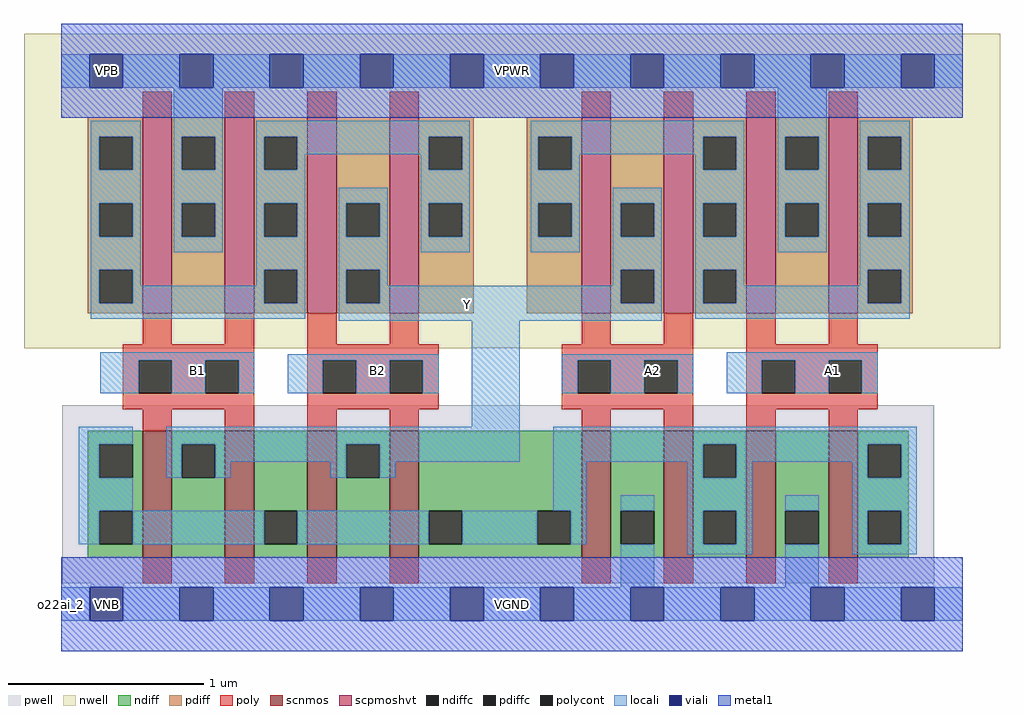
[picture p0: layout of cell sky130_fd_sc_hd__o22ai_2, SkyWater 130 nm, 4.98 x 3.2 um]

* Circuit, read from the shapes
.subckt sky130_fd_sc_hd__o22ai_2 A1 A2 B1 B2 VGND VNB VPB VPWR Y
XM1 Y B1 n1 VNB sky130_fd_pr__nfet_01v8 w=0.65 l=0.15 m=2
XM2 Y B2 n1 VNB sky130_fd_pr__nfet_01v8 w=0.65 l=0.15 m=2
XM3 VGND A2 n1 VNB sky130_fd_pr__nfet_01v8 w=0.65 l=0.15 m=2
XM4 VGND A1 n1 VNB sky130_fd_pr__nfet_01v8 w=0.65 l=0.15 m=2
XM5 VPWR B1 n2 VPB sky130_fd_pr__pfet_01v8_hvt w=1 l=0.15 m=2
XM6 Y B2 n2 VPB sky130_fd_pr__pfet_01v8_hvt w=1 l=0.15 m=2
XM7 Y A2 n3 VPB sky130_fd_pr__pfet_01v8_hvt w=1 l=0.15 m=2
XM8 VPWR A1 n3 VPB sky130_fd_pr__pfet_01v8_hvt w=1 l=0.15 m=2
.ends

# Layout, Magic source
magic
tech sky130B
magscale 1 2
<< nwell >>
rect -38 261 958 582
<< pwell >>
rect 1 21 891 203
rect 30 -17 64 21
<< scnmos >>
rect 83 47 113 177
rect 167 47 197 177
rect 251 47 281 177
rect 335 47 365 177
rect 531 47 561 177
rect 615 47 645 177
rect 699 47 729 177
rect 783 47 813 177
<< scpmoshvt >>
rect 83 297 113 497
rect 167 297 197 497
rect 251 297 281 497
rect 335 297 365 497
rect 531 297 561 497
rect 615 297 645 497
rect 699 297 729 497
rect 783 297 813 497
<< ndiff >>
rect 27 163 83 177
rect 27 129 39 163
rect 73 129 83 163
rect 27 95 83 129
rect 27 61 39 95
rect 73 61 83 95
rect 27 47 83 61
rect 113 163 167 177
rect 113 129 123 163
rect 157 129 167 163
rect 113 47 167 129
rect 197 95 251 177
rect 197 61 207 95
rect 241 61 251 95
rect 197 47 251 61
rect 281 163 335 177
rect 281 129 291 163
rect 325 129 335 163
rect 281 47 335 129
rect 365 95 531 177
rect 365 61 375 95
rect 409 61 486 95
rect 520 61 531 95
rect 365 47 531 61
rect 561 95 615 177
rect 561 61 571 95
rect 605 61 615 95
rect 561 47 615 61
rect 645 163 699 177
rect 645 129 655 163
rect 689 129 699 163
rect 645 95 699 129
rect 645 61 655 95
rect 689 61 699 95
rect 645 47 699 61
rect 729 95 783 177
rect 729 61 739 95
rect 773 61 783 95
rect 729 47 783 61
rect 813 163 865 177
rect 813 129 823 163
rect 857 129 865 163
rect 813 95 865 129
rect 813 61 823 95
rect 857 61 865 95
rect 813 47 865 61
<< pdiff >>
rect 27 477 83 497
rect 27 443 39 477
rect 73 443 83 477
rect 27 409 83 443
rect 27 375 39 409
rect 73 375 83 409
rect 27 341 83 375
rect 27 307 39 341
rect 73 307 83 341
rect 27 297 83 307
rect 113 477 167 497
rect 113 443 123 477
rect 157 443 167 477
rect 113 409 167 443
rect 113 375 123 409
rect 157 375 167 409
rect 113 297 167 375
rect 197 477 251 497
rect 197 443 207 477
rect 241 443 251 477
rect 197 409 251 443
rect 197 375 207 409
rect 241 375 251 409
rect 197 341 251 375
rect 197 307 207 341
rect 241 307 251 341
rect 197 297 251 307
rect 281 409 335 497
rect 281 375 291 409
rect 325 375 335 409
rect 281 341 335 375
rect 281 307 291 341
rect 325 307 335 341
rect 281 297 335 307
rect 365 477 421 497
rect 365 443 375 477
rect 409 443 421 477
rect 365 409 421 443
rect 365 375 375 409
rect 409 375 421 409
rect 365 297 421 375
rect 475 477 531 497
rect 475 443 487 477
rect 521 443 531 477
rect 475 409 531 443
rect 475 375 487 409
rect 521 375 531 409
rect 475 297 531 375
rect 561 409 615 497
rect 561 375 571 409
rect 605 375 615 409
rect 561 341 615 375
rect 561 307 571 341
rect 605 307 615 341
rect 561 297 615 307
rect 645 477 699 497
rect 645 443 655 477
rect 689 443 699 477
rect 645 409 699 443
rect 645 375 655 409
rect 689 375 699 409
rect 645 341 699 375
rect 645 307 655 341
rect 689 307 699 341
rect 645 297 699 307
rect 729 477 783 497
rect 729 443 739 477
rect 773 443 783 477
rect 729 409 783 443
rect 729 375 739 409
rect 773 375 783 409
rect 729 297 783 375
rect 813 477 869 497
rect 813 443 823 477
rect 857 443 869 477
rect 813 409 869 443
rect 813 375 823 409
rect 857 375 869 409
rect 813 341 869 375
rect 813 307 823 341
rect 857 307 869 341
rect 813 297 869 307
<< ndiffc >>
rect 39 129 73 163
rect 39 61 73 95
rect 123 129 157 163
rect 207 61 241 95
rect 291 129 325 163
rect 375 61 409 95
rect 486 61 520 95
rect 571 61 605 95
rect 655 129 689 163
rect 655 61 689 95
rect 739 61 773 95
rect 823 129 857 163
rect 823 61 857 95
<< pdiffc >>
rect 39 443 73 477
rect 39 375 73 409
rect 39 307 73 341
rect 123 443 157 477
rect 123 375 157 409
rect 207 443 241 477
rect 207 375 241 409
rect 207 307 241 341
rect 291 375 325 409
rect 291 307 325 341
rect 375 443 409 477
rect 375 375 409 409
rect 487 443 521 477
rect 487 375 521 409
rect 571 375 605 409
rect 571 307 605 341
rect 655 443 689 477
rect 655 375 689 409
rect 655 307 689 341
rect 739 443 773 477
rect 739 375 773 409
rect 823 443 857 477
rect 823 375 857 409
rect 823 307 857 341
<< poly >>
rect 83 497 113 523
rect 167 497 197 523
rect 251 497 281 523
rect 335 497 365 523
rect 531 497 561 523
rect 615 497 645 523
rect 699 497 729 523
rect 783 497 813 523
rect 83 265 113 297
rect 167 265 197 297
rect 63 249 197 265
rect 63 215 79 249
rect 113 215 147 249
rect 181 215 197 249
rect 63 199 197 215
rect 83 177 113 199
rect 167 177 197 199
rect 251 265 281 297
rect 335 265 365 297
rect 531 265 561 297
rect 615 265 645 297
rect 251 249 385 265
rect 251 215 267 249
rect 301 215 335 249
rect 369 215 385 249
rect 251 199 385 215
rect 511 249 645 265
rect 511 215 527 249
rect 561 215 595 249
rect 629 215 645 249
rect 511 199 645 215
rect 251 177 281 199
rect 335 177 365 199
rect 531 177 561 199
rect 615 177 645 199
rect 699 265 729 297
rect 783 265 813 297
rect 699 249 833 265
rect 699 215 715 249
rect 749 215 783 249
rect 817 215 833 249
rect 699 199 833 215
rect 699 177 729 199
rect 783 177 813 199
rect 83 21 113 47
rect 167 21 197 47
rect 251 21 281 47
rect 335 21 365 47
rect 531 21 561 47
rect 615 21 645 47
rect 699 21 729 47
rect 783 21 813 47
<< polycont >>
rect 79 215 113 249
rect 147 215 181 249
rect 267 215 301 249
rect 335 215 369 249
rect 527 215 561 249
rect 595 215 629 249
rect 715 215 749 249
rect 783 215 817 249
<< locali >>
rect 0 527 29 561
rect 63 527 121 561
rect 155 527 213 561
rect 247 527 305 561
rect 339 527 397 561
rect 431 527 489 561
rect 523 527 581 561
rect 615 527 673 561
rect 707 527 765 561
rect 799 527 857 561
rect 891 527 920 561
rect 30 477 81 493
rect 30 443 39 477
rect 73 443 81 477
rect 30 409 81 443
rect 30 375 39 409
rect 73 375 81 409
rect 30 341 81 375
rect 115 477 165 527
rect 115 443 123 477
rect 157 443 165 477
rect 115 409 165 443
rect 115 375 123 409
rect 157 375 165 409
rect 115 359 165 375
rect 199 477 417 493
rect 199 443 207 477
rect 241 459 375 477
rect 241 443 249 459
rect 199 409 249 443
rect 367 443 375 459
rect 409 443 417 477
rect 199 375 207 409
rect 241 375 249 409
rect 30 307 39 341
rect 73 325 81 341
rect 199 341 249 375
rect 199 325 207 341
rect 73 307 207 325
rect 241 307 249 341
rect 30 291 249 307
rect 283 409 333 425
rect 283 375 291 409
rect 325 375 333 409
rect 283 341 333 375
rect 367 409 417 443
rect 367 375 375 409
rect 409 375 417 409
rect 367 359 417 375
rect 479 477 697 493
rect 479 443 487 477
rect 521 459 655 477
rect 521 443 529 459
rect 479 409 529 443
rect 647 443 655 459
rect 689 443 697 477
rect 479 375 487 409
rect 521 375 529 409
rect 479 359 529 375
rect 563 409 613 425
rect 563 375 571 409
rect 605 375 613 409
rect 283 307 291 341
rect 325 325 333 341
rect 563 341 613 375
rect 563 325 571 341
rect 325 307 571 325
rect 605 307 613 341
rect 283 289 613 307
rect 647 409 697 443
rect 647 375 655 409
rect 689 375 697 409
rect 647 341 697 375
rect 731 477 781 527
rect 731 443 739 477
rect 773 443 781 477
rect 731 409 781 443
rect 731 375 739 409
rect 773 375 781 409
rect 731 359 781 375
rect 815 477 866 493
rect 815 443 823 477
rect 857 443 866 477
rect 815 409 866 443
rect 815 375 823 409
rect 857 375 866 409
rect 647 307 655 341
rect 689 325 697 341
rect 815 341 866 375
rect 815 325 823 341
rect 689 307 823 325
rect 857 307 866 341
rect 647 291 866 307
rect 40 249 197 257
rect 40 215 79 249
rect 113 215 147 249
rect 181 215 197 249
rect 231 249 385 255
rect 231 215 267 249
rect 301 215 335 249
rect 369 215 385 249
rect 419 181 468 289
rect 511 249 645 255
rect 511 215 527 249
rect 561 215 595 249
rect 629 215 645 249
rect 679 249 833 257
rect 679 215 715 249
rect 749 215 783 249
rect 817 215 833 249
rect 18 163 73 181
rect 18 129 39 163
rect 107 163 468 181
rect 107 129 123 163
rect 157 145 291 163
rect 157 129 173 145
rect 275 129 291 145
rect 325 145 468 163
rect 502 163 873 181
rect 502 145 655 163
rect 325 129 341 145
rect 18 95 73 129
rect 502 95 536 145
rect 639 129 655 145
rect 689 145 823 163
rect 689 129 705 145
rect 18 61 39 95
rect 73 61 207 95
rect 241 61 375 95
rect 409 61 486 95
rect 520 61 536 95
rect 571 95 605 111
rect 571 17 605 61
rect 639 95 705 129
rect 807 129 823 145
rect 857 129 873 163
rect 639 61 655 95
rect 689 61 705 95
rect 639 51 705 61
rect 739 95 773 111
rect 739 17 773 61
rect 807 95 873 129
rect 807 61 823 95
rect 857 61 873 95
rect 807 51 873 61
rect 0 -17 29 17
rect 63 -17 121 17
rect 155 -17 213 17
rect 247 -17 305 17
rect 339 -17 397 17
rect 431 -17 489 17
rect 523 -17 581 17
rect 615 -17 673 17
rect 707 -17 765 17
rect 799 -17 857 17
rect 891 -17 920 17
<< viali >>
rect 29 527 63 561
rect 121 527 155 561
rect 213 527 247 561
rect 305 527 339 561
rect 397 527 431 561
rect 489 527 523 561
rect 581 527 615 561
rect 673 527 707 561
rect 765 527 799 561
rect 857 527 891 561
rect 29 -17 63 17
rect 121 -17 155 17
rect 213 -17 247 17
rect 305 -17 339 17
rect 397 -17 431 17
rect 489 -17 523 17
rect 581 -17 615 17
rect 673 -17 707 17
rect 765 -17 799 17
rect 857 -17 891 17
<< metal1 >>
rect 0 561 920 592
rect 0 527 29 561
rect 63 527 121 561
rect 155 527 213 561
rect 247 527 305 561
rect 339 527 397 561
rect 431 527 489 561
rect 523 527 581 561
rect 615 527 673 561
rect 707 527 765 561
rect 799 527 857 561
rect 891 527 920 561
rect 0 496 920 527
rect 0 17 920 48
rect 0 -17 29 17
rect 63 -17 121 17
rect 155 -17 213 17
rect 247 -17 305 17
rect 339 -17 397 17
rect 431 -17 489 17
rect 523 -17 581 17
rect 615 -17 673 17
rect 707 -17 765 17
rect 799 -17 857 17
rect 891 -17 920 17
rect 0 -48 920 -17
<< labels >>
flabel locali s 306 221 340 255 0 FreeSans 400 0 0 0 B2
port 4 nsew signal input
flabel locali s 122 221 156 255 0 FreeSans 400 0 0 0 B1
port 3 nsew signal input
flabel locali s 398 289 432 323 0 FreeSans 400 0 0 0 Y
port 9 nsew signal output
flabel locali s 770 221 804 255 0 FreeSans 400 0 0 0 A1
port 1 nsew signal input
flabel locali s 586 221 620 255 0 FreeSans 400 0 0 0 A2
port 2 nsew signal input
flabel nwell s 30 527 64 561 0 FreeSans 200 0 0 0 VPB
port 7 nsew power bidirectional
flabel pwell s 30 -17 64 17 0 FreeSans 200 0 0 0 VNB
port 6 nsew ground bidirectional
flabel metal1 s 30 -17 64 17 0 FreeSans 200 0 0 0 VGND
port 5 nsew ground bidirectional abutment
flabel metal1 s 30 527 64 561 0 FreeSans 200 0 0 0 VPWR
port 8 nsew power bidirectional abutment
rlabel comment s 0 0 0 0 4 o22ai_2
rlabel metal1 s 0 -48 920 48 1 VGND
port 5 nsew ground bidirectional abutment
rlabel metal1 s 0 496 920 592 1 VPWR
port 8 nsew power bidirectional abutment
<< properties >>
string FIXED_BBOX 0 0 920 544
string GDS_END 1383256
string GDS_FILE $PDKPATH/libs.ref/sky130_fd_sc_hd/gds/sky130_fd_sc_hd.gds
string GDS_START 1375380
string LEFclass CORE
string LEFsite unithd
string LEFsymmetry X Y R90
string path 0.000 0.000 4.600 0.000 
<< end >>
